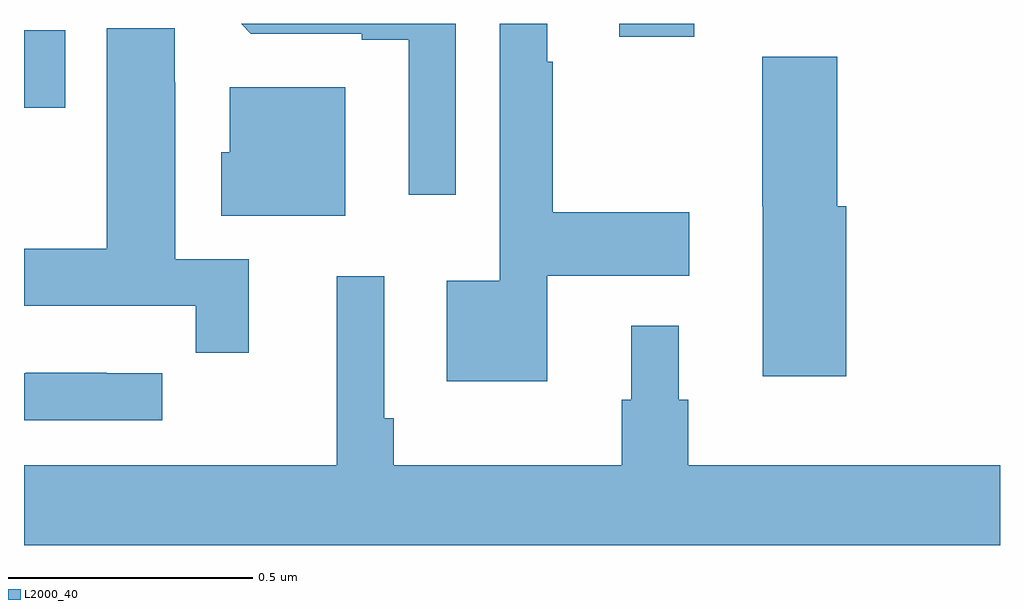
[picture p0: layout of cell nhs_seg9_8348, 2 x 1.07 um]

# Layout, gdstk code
import gdstk
lib = gdstk.Library(unit=1e-6, precision=1e-09)
def R(c, l, rs):  # rectangles x0, y0, x1, y1
    for r in rs: c.add(gdstk.rectangle(r[:2], r[2:], *l))
def P(c, l, *ps):  # polygons
    for p in ps: c.add(gdstk.Polygon(p, *l))
L2000_40 = (2000, 40)

nhs_seg9_8348 = lib.new_cell('nhs_seg9_8348')
R(nhs_seg9_8348, L2000_40, [(216,1185.328,216.085,1185.487), (217.22,1185.474,217.373,1185.5)])
P(nhs_seg9_8348, L2000_40, [(216.885,1185.5),(216.445,1185.5),(216.465,1185.48),(216.692,1185.48),(216.692,1185.468),(216.788,1185.468),(216.788,1185.15),(216.885,1185.15)],
  [(217.072,1184.984),(217.363,1184.984),(217.363,1185.114),(217.084,1185.114),(217.084,1185.422),(217.072,1185.422),(217.072,1185.5),(216.975,1185.5),(216.975,1184.974),(216.866,1184.974),(216.866,1184.768),(217.072,1184.768)],
  [(216.461,1185.018),(216.31,1185.018),(216.31,1185.38),(216.309,1185.38),(216.309,1185.491),(216.17,1185.491),(216.17,1185.039),(216,1185.039),(216,1184.922),(216.352,1184.922),(216.352,1184.826),(216.461,1184.826)],
  [(217.685,1185.126),(217.667,1185.126),(217.667,1185.433),(217.513,1185.433),(217.513,1185.126),(217.514,1185.126),(217.514,1184.778),(217.685,1184.778)],
  [(216.658,1185.37),(216.422,1185.37),(216.422,1185.237),(216.404,1185.237),(216.404,1185.107),(216.658,1185.107)],
  [(218,1184.596),(217.361,1184.596),(217.361,1184.73),(217.342,1184.73),(217.342,1184.881),(217.244,1184.881),(217.244,1184.73),(217.225,1184.73),(217.225,1184.596),(216.758,1184.596),(216.758,1184.692),(216.738,1184.692),(216.738,1184.983),(216.641,1184.983),(216.641,1184.596),(216,1184.596),(216,1184.432),(218,1184.432)],
  [(216.283,1184.784),(216.17,1184.784),(216.17,1184.785),(216.004,1184.785),(216.004,1184.784),(216,1184.784),(216,1184.688),(216.283,1184.688)])

lib.write_gds('nhs_seg9_8348.gds')
